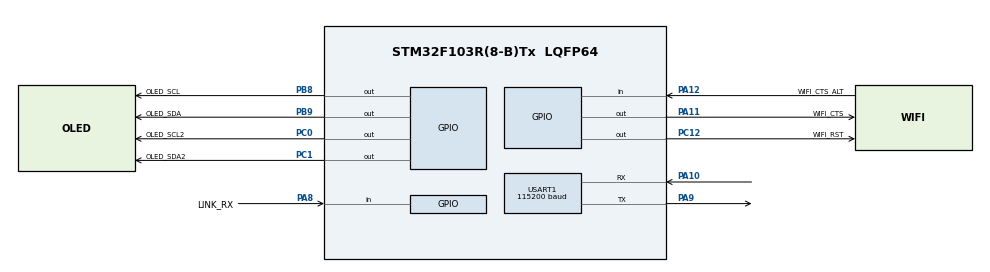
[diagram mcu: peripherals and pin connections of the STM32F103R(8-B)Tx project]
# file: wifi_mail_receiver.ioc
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Mcu.Family=STM32F1
Mcu.Name=STM32F103R(8-B)Tx
Mcu.Package=LQFP64
NVIC.TIM1_CC_IRQn=true\:0\:0\:false\:false\:true\:true\:true\:true
NVIC.PriorityGroup=NVIC_PRIORITYGROUP_4
NVIC.USART1_IRQn=true\:0\:0\:false\:false\:true\:true\:true\:true
PA10.Mode=Asynchronous
PA10.Signal=USART1_RX
PA11.GPIO_Label=WIFI_CTS
PA11.GPIO_ModeDefaultOutputPP=GPIO_MODE_OUTPUT_PP
PA11.GPIO_PuPd=GPIO_NOPULL
PA11.GPIO_Speed=GPIO_SPEED_FREQ_LOW
PA11.PinState=GPIO_PIN_RESET
PA11.Signal=GPIO_Output
PA12.GPIO_Label=WIFI_CTS_ALT
PA12.GPIO_PuPd=GPIO_NOPULL
PA12.Signal=GPIO_Input
PA13.GPIO_Label=TMS
PA13.Mode=Serial_Wire
PA13.Signal=SYS_JTMS-SWDIO
PA14.GPIO_Label=TCK
PA14.Mode=Serial_Wire
PA14.Signal=SYS_JTCK-SWCLK
PA8.GPIO_Label=LINK_RX
PA8.GPIO_PuPd=GPIO_PULLUP
PA8.Signal=GPIO_Input
PA9.Mode=Asynchronous
PA9.Signal=USART1_TX
PB8.GPIO_Label=OLED_SCL
PB8.GPIO_ModeDefaultOutputOD=GPIO_MODE_OUTPUT_OD
PB8.GPIO_PuPd=GPIO_PULLUP
PB8.GPIO_Speed=GPIO_SPEED_FREQ_HIGH
PB8.PinState=GPIO_PIN_SET
PB8.Signal=GPIO_Output
PB9.GPIO_Label=OLED_SDA
PB9.GPIO_ModeDefaultOutputOD=GPIO_MODE_OUTPUT_OD
PB9.GPIO_PuPd=GPIO_PULLUP
PB9.GPIO_Speed=GPIO_SPEED_FREQ_HIGH
PB9.PinState=GPIO_PIN_SET
PB9.Signal=GPIO_Output
PC0.GPIO_Label=OLED_SCL2
PC0.GPIO_ModeDefaultOutputOD=GPIO_MODE_OUTPUT_OD
PC0.GPIO_PuPd=GPIO_PULLUP
PC0.GPIO_Speed=GPIO_SPEED_FREQ_HIGH
PC0.PinState=GPIO_PIN_SET
PC0.Signal=GPIO_Output
PC1.GPIO_Label=OLED_SDA2
PC1.GPIO_ModeDefaultOutputOD=GPIO_MODE_OUTPUT_OD
PC1.GPIO_PuPd=GPIO_PULLUP
PC1.GPIO_Speed=GPIO_SPEED_FREQ_HIGH
PC1.PinState=GPIO_PIN_SET
PC1.Signal=GPIO_Output
PC12.GPIO_Label=WIFI_RST
PC12.GPIO_ModeDefaultOutputPP=GPIO_MODE_OUTPUT_PP
PC12.GPIO_PuPd=GPIO_NOPULL
PC12.GPIO_Speed=GPIO_SPEED_FREQ_LOW
PC12.PinState=GPIO_PIN_SET
PC12.Signal=GPIO_Output
ProjectManager.HeapSize=0x200
ProjectManager.StackSize=0x400
ProjectManager.TargetToolchain=STM32CubeIDE
RCC.AHBFreq_Value=8000000
RCC.APB1CLKDivider=RCC_HCLK_DIV1
RCC.APB1Freq_Value=8000000
RCC.APB1TimFreq_Value=8000000
RCC.APB2Freq_Value=8000000
RCC.APB2TimFreq_Value=8000000
RCC.HCLKFreq_Value=8000000
RCC.PLLMUL=RCC_PLL_MUL2
RCC.PLLSource=RCC_PLLSOURCE_HSI
RCC.PLLSourceVirtualString=RCC_PLLSOURCE_HSI
RCC.SYSCLKFreq_VALUE=8000000
RCC.SYSCLKSource=RCC_SYSCLKSOURCE_PLLCLK
RCC.USBFreq_Value=8000000
USART1.BaudRate=115200
USART1.VirtualMode=VM_ASYNC
board=NUCLEO-F103RB

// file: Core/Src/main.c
/* USER CODE BEGIN Header */
/**
  ******************************************************************************
  * @file           : main.c
  * @brief          : Main program body
  ******************************************************************************
  * @attention
  *
  * Copyright (c) 2026 STMicroelectronics.
  * All rights reserved.
  *
  * This software is licensed under terms that can be found in the LICENSE file
  * in the root directory of this software component.
  * If no LICENSE file comes with this software, it is provided AS-IS.
  *
  ******************************************************************************
  */
/* USER CODE END Header */
#include "main.h"

/* USER CODE BEGIN Includes */
#include "ssd1306.h"
#include "wifi_mail.h"
#include <stdio.h>
/* USER CODE END Includes */

UART_HandleTypeDef huart1;

/* USER CODE BEGIN PV */
#define LINK_RX_SIZE 128
#define LINK_BAUD          9600U   /* bit-banged UART from the TX board (PA8, TIM1 input capture) */
#define LINK_TIMEOUT_MS    3000U   /* no valid frame for this long -> show "NO LINK" */
#define WIFI_REJOIN_MS     30000U  /* retry period after a failed Wi-Fi join */
#define MAIL_PERIOD_MS     60000U  /* interval between e-mails with readings */
static volatile uint8_t link_rx[LINK_RX_SIZE];
static volatile uint16_t link_head;
static uint16_t link_tail;
static volatile uint32_t link_count;
static uint16_t link_bit;
static int oled_ok;
/* USER CODE END PV */

void SystemClock_Config(void);
static void MX_GPIO_Init(void);
static void MX_DMA_Init(void);
static void MX_USART1_UART_Init(void);
/* USER CODE BEGIN PFP */
static int parse_line(const char *s, int *pot, int *ldr, int *tmp);
static void oled_show(const char *l0, const char *l1, const char *l2, const char *l3);
static void link_rx_init(void);
/* USER CODE END PFP */

/* USER CODE BEGIN 0 */
static int read_num(const char **ps, int *whole, int *frac)
{
  const char *s = *ps;
  int w = 0;
  if (*s < '0' || *s > '9')
  {
    return 0;
  }
  while (*s >= '0' && *s <= '9')
  {
    w = w * 10 + (*s - '0');
    s++;
  }
  if (*s != '.')
  {
    return 0;
  }
  s++;
  if (*s < '0' || *s > '9')
  {
    return 0;
  }
  *whole = w;
  *frac = *s - '0';
  *ps = s + 1;
  return 1;
}

static int parse_line(const char *s, int *pot, int *ldr, int *tmp)
{
  int pw, pf, lw, lf, tw, tf;
  if (*s++ != 'P' || !read_num(&s, &pw, &pf) || *s++ != ';')
  {
    return 0;
  }
  if (*s++ != 'L' || !read_num(&s, &lw, &lf) || *s++ != ';')
  {
    return 0;
  }
  if (*s++ != 'T' || !read_num(&s, &tw, &tf))
  {
    return 0;
  }
  *pot = pw * 10 + pf;
  *ldr = lw * 10 + lf;
  *tmp = tw * 10 + tf;
  return 1;
}

static void oled_show(const char *l0, const char *l1, const char *l2, const char *l3)
{
  if (!oled_ok)
  {
    return;
  }
  SSD1306_Clear();
  SSD1306_DrawString(0, 0, l0);
  SSD1306_DrawString(0, 1, l1);
  SSD1306_DrawString(0, 2, l2);
  SSD1306_DrawString(0, 3, l3);
  SSD1306_Update();
}

static void oled_readings(const char *title, int pot, int ldr, int tmp)
{
  char a[22], b[22], c[22];

  snprintf(a, sizeof(a), "POT %d.%d%%", pot / 10, pot % 10);
  snprintf(b, sizeof(b), "LDR %d.%d%%", ldr / 10, ldr % 10);
  snprintf(c, sizeof(c), "TEMP %d.%dC", tmp / 10, tmp % 10);
  oled_show(title, a, b, c);
}

static void tim_wait(uint16_t t0, uint16_t target)
{
  uint32_t spins = 40000U;

  while ((uint16_t)(TIM1->CNT - t0) < target && spins-- != 0U)
  {
  }
}

static void link_rx_init(void)
{
  GPIO_InitTypeDef gpio = {0};
  uint32_t timclk;

  gpio.Pin = GPIO_PIN_8;
  gpio.Mode = GPIO_MODE_INPUT;
  gpio.Pull = GPIO_PULLUP;
  HAL_GPIO_Init(GPIOA, &gpio);

  timclk = HAL_RCC_GetPCLK2Freq();
  if ((RCC->CFGR & RCC_CFGR_PPRE2) != RCC_CFGR_PPRE2_DIV1)
  {
    timclk *= 2U;
  }
  link_bit = (uint16_t)(timclk / LINK_BAUD);

  __HAL_RCC_TIM1_CLK_ENABLE();
  TIM1->CR1 = 0;
  TIM1->PSC = 0;
  TIM1->ARR = 0xFFFF;
  TIM1->CNT = 0;
  TIM1->CCMR1 = TIM_CCMR1_CC1S_0 | (3U << 4);
  TIM1->CCER = TIM_CCER_CC1P | TIM_CCER_CC1E;
  TIM1->DIER = TIM_DIER_CC1IE;
  TIM1->BDTR = TIM_BDTR_MOE;
  TIM1->EGR = TIM_EGR_UG;
  TIM1->SR = 0;
  TIM1->CR1 = TIM_CR1_CEN;
  HAL_NVIC_SetPriority(TIM1_CC_IRQn, 1, 0);
  HAL_NVIC_EnableIRQ(TIM1_CC_IRQn);
  HAL_NVIC_SetPriority(USART1_IRQn, 0, 0);
}

static void link_rx_byte(uint16_t t0)
{
  uint16_t bit = link_bit;
  uint8_t value = 0;
  uint16_t next;
  int i;

  tim_wait(t0, (uint16_t)(bit + bit / 2U));
  for (i = 0; i < 8; i++)
  {
    if ((GPIOA->IDR & GPIO_PIN_8) != 0U)
    {
      value |= (uint8_t)(1U << i);
    }
    tim_wait(t0, (uint16_t)(bit + bit / 2U + (uint16_t)(i + 1) * bit));
  }
  next = (uint16_t)((link_head + 1U) % LINK_RX_SIZE);
  if (next != link_tail)
  {
    link_rx[link_head] = value;
    link_head = next;
  }
  link_count++;
  TIM1->SR = (uint16_t)~(TIM_SR_CC1IF | TIM_SR_CC1OF);
}

void TIM1_CC_IRQHandler(void)
{
  uint16_t t0;

  if ((TIM1->SR & TIM_SR_CC1IF) == 0U)
  {
    return;
  }
  t0 = (uint16_t)TIM1->CCR1;
  TIM1->DIER &= (uint16_t)~TIM_DIER_CC1IE;
  link_rx_byte(t0);
  TIM1->DIER |= TIM_DIER_CC1IE;
}
/* USER CODE END 0 */

int main(void)
{

  /* MCU Configuration--------------------------------------------------------*/

  /* Reset of all peripherals, Initializes the Flash interface and the Systick. */
  HAL_Init();

  /* USER CODE BEGIN Init */
  RCC_OscInitTypeDef RCC_OscInitStruct = {0};
  RCC_OscInitStruct.OscillatorType = RCC_OSCILLATORTYPE_HSI;
  RCC_OscInitStruct.HSIState = RCC_HSI_ON;
  RCC_OscInitStruct.HSICalibrationValue = RCC_HSICALIBRATION_DEFAULT;
  RCC_OscInitStruct.PLL.PLLState = RCC_PLL_ON;
  RCC_OscInitStruct.PLL.PLLSource = RCC_PLLSOURCE_HSI_DIV2;
  RCC_OscInitStruct.PLL.PLLMUL = RCC_PLL_MUL2;
  if (HAL_RCC_OscConfig(&RCC_OscInitStruct) != HAL_OK)
  {
    Error_Handler();
  }
  /* USER CODE END Init */

  /* Configure the system clock */
  SystemClock_Config();

  /* Initialize all configured peripherals */
  MX_GPIO_Init();
  MX_DMA_Init();
  MX_USART1_UART_Init();
  /* USER CODE BEGIN 2 */
  link_rx_init();
  WiFi_StartRx();
  oled_ok = (SSD1306_Init() == 0);
  oled_show("LAB 4", "WIFI ...", "", "");
  /* USER CODE END 2 */

  /* Infinite loop */
  while (1)
  {

    /* USER CODE BEGIN 3 */
    static char line[48];
    static uint8_t line_len;
    static int have;
    static int stale;
    static int pot, ldr, tmp;
    static uint32_t last_ms;
    static uint32_t oled_try;
    static uint32_t wait_ms;
    static int join_state;
    static uint32_t last_join;
    static uint32_t last_mail;
    static char title[22] = "HY-M302";
    uint16_t head;

    if (!oled_ok && (HAL_GetTick() - oled_try) > 1000U)
    {
      oled_try = HAL_GetTick();
      oled_ok = (SSD1306_Init() == 0);
    }

    if (join_state == 0 || (join_state == 2 && (HAL_GetTick() - last_join) >= WIFI_REJOIN_MS))
    {
      join_state = WiFi_Join() ? 1 : 2;
      last_join = HAL_GetTick();
      last_mail = 0U;
    }

    head = link_head;
    while (link_tail != head)
    {
      uint8_t byte = link_rx[link_tail];

      link_tail = (uint16_t)((link_tail + 1U) % LINK_RX_SIZE);
      if (byte == '\n')
      {
        line[line_len] = '\0';
        line_len = 0;
        if (parse_line(line, &pot, &ldr, &tmp))
        {
          have = 1;
          stale = 0;
          last_ms = HAL_GetTick();
          oled_readings(title, pot, ldr, tmp);
        }
      }
      else if (byte != '\r' && line_len < sizeof(line) - 1)
      {
        line[line_len++] = (char)byte;
      }
      else if (byte != '\r')
      {
        line_len = 0;
      }
    }

    if (!have && (HAL_GetTick() - wait_ms) > 500U)
    {
      char info[22];
      char raw[22];
      int i;
      int n = line_len;

      wait_ms = HAL_GetTick();
      if (n > 21)
      {
        n = 21;
      }
      for (i = 0; i < n; i++)
      {
        raw[i] = (line[i] >= 32 && line[i] < 127) ? line[i] : '.';
      }
      raw[n] = '\0';
      snprintf(info, sizeof(info), "B %lu", (unsigned long)link_count);
      oled_show("WAIT UART", info, n ? raw : "NO EDGE", "");
    }
    if (have && !stale && (HAL_GetTick() - last_ms) > LINK_TIMEOUT_MS)
    {
      stale = 1;
      oled_readings("NO LINK", pot, ldr, tmp);
    }
    if (have && join_state == 1 && (last_mail == 0U || (HAL_GetTick() - last_mail) >= MAIL_PERIOD_MS))
    {
      if (WiFi_SendReadings(pot, ldr, tmp))
      {
        snprintf(title, sizeof(title), "MAIL OK");
      }
      else
      {
        snprintf(title, sizeof(title), "MAIL %s", WiFi_FailText());
      }
      last_mail = HAL_GetTick() | 1U;
      oled_readings(stale ? "NO LINK" : title, pot, ldr, tmp);
    }
  }
  /* USER CODE END 3 */
}

void SystemClock_Config(void)
{
  RCC_ClkInitTypeDef RCC_ClkInitStruct = {0};

  /** Initializes the CPU, AHB and APB buses clocks
  */
  RCC_ClkInitStruct.ClockType = RCC_CLOCKTYPE_HCLK|RCC_CLOCKTYPE_SYSCLK
                              |RCC_CLOCKTYPE_PCLK1|RCC_CLOCKTYPE_PCLK2;
  RCC_ClkInitStruct.SYSCLKSource = RCC_SYSCLKSOURCE_PLLCLK;
  RCC_ClkInitStruct.AHBCLKDivider = RCC_SYSCLK_DIV1;
  RCC_ClkInitStruct.APB1CLKDivider = RCC_HCLK_DIV1;
  RCC_ClkInitStruct.APB2CLKDivider = RCC_HCLK_DIV1;

  if (HAL_RCC_ClockConfig(&RCC_ClkInitStruct, FLASH_LATENCY_0) != HAL_OK)
  {
    Error_Handler();
  }
}

static void MX_USART1_UART_Init(void)
{

  huart1.Instance = USART1;
  huart1.Init.BaudRate = 115200;
  huart1.Init.WordLength = UART_WORDLENGTH_8B;
  huart1.Init.StopBits = UART_STOPBITS_1;
  huart1.Init.Parity = UART_PARITY_NONE;
  huart1.Init.Mode = UART_MODE_TX_RX;
  huart1.Init.HwFlowCtl = UART_HWCONTROL_NONE;
  huart1.Init.OverSampling = UART_OVERSAMPLING_16;
  if (HAL_UART_Init(&huart1) != HAL_OK)
  {
    Error_Handler();
  }

}

static void MX_DMA_Init(void)
{

  /* DMA controller clock enable */
  __HAL_RCC_DMA1_CLK_ENABLE();

  /* DMA interrupt init */
  HAL_NVIC_SetPriority(USART1_IRQn, 0, 0);
  HAL_NVIC_EnableIRQ(USART1_IRQn);

}

static void MX_GPIO_Init(void)
{
  GPIO_InitTypeDef GPIO_InitStruct = {0};

  /* GPIO Ports Clock Enable */
  __HAL_RCC_GPIOA_CLK_ENABLE();
  __HAL_RCC_GPIOB_CLK_ENABLE();

  /*Configure GPIO pin Output Level */
  HAL_GPIO_WritePin(OLED_SCL_GPIO_Port, OLED_SCL_Pin|OLED_SDA_Pin, GPIO_PIN_RESET);

  /*Configure GPIO pins : OLED_SCL_Pin OLED_SDA_Pin */
  GPIO_InitStruct.Pin = OLED_SCL_Pin|OLED_SDA_Pin;
  GPIO_InitStruct.Mode = GPIO_MODE_OUTPUT_PP;
  GPIO_InitStruct.Pull = GPIO_PULLUP;
  GPIO_InitStruct.Speed = GPIO_SPEED_FREQ_HIGH;
  HAL_GPIO_Init(OLED_SCL_GPIO_Port, &GPIO_InitStruct);

}

void Error_Handler(void)
{
  __disable_irq();
  while (1)
  {
  }
}
